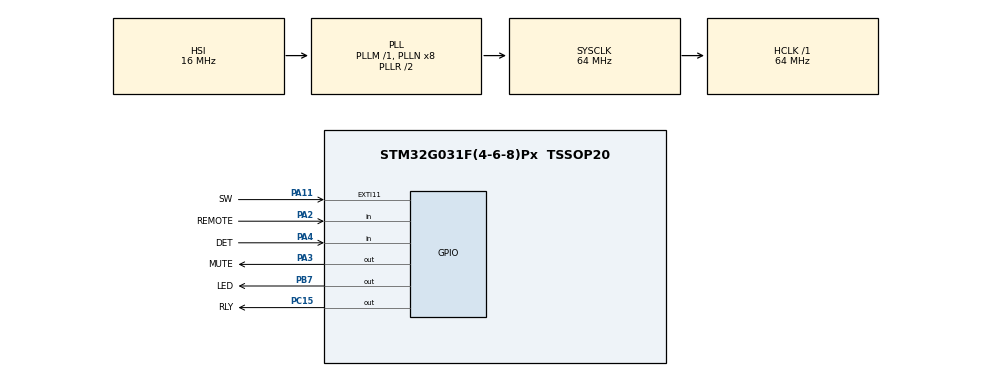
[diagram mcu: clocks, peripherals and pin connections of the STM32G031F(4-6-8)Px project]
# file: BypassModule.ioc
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Mcu.Family=STM32G0
Mcu.Name=STM32G031F(4-6-8)Px
Mcu.Package=TSSOP20
NVIC.EXTI4_15_IRQn=true\:1\:0\:true\:false\:true\:true\:true
NVIC.TIM3_IRQn=true\:2\:0\:true\:false\:true\:true\:true
PA11\ [PA9].GPIO_Label=SW
PA11\ [PA9].GPIO_ModeDefaultEXTI=GPIO_MODE_IT_RISING_FALLING
PA11\ [PA9].GPIO_PuPd=GPIO_PULLUP
PA11\ [PA9].Signal=GPXTI11
PA13.Mode=Serial_Wire
PA13.Signal=SYS_SWDIO
PA14-BOOT0.Mode=Serial_Wire
PA14-BOOT0.Signal=SYS_SWCLK
PA2.GPIO_Label=REMOTE
PA2.GPIO_PuPd=GPIO_PULLUP
PA2.Signal=GPIO_Input
PA3.GPIO_Label=MUTE
PA3.GPIO_ModeDefaultOutputPP=GPIO_MODE_OUTPUT_PP
PA3.GPIO_PuPd=GPIO_NOPULL
PA3.GPIO_Speed=GPIO_SPEED_FREQ_HIGH
PA3.PinState=GPIO_PIN_RESET
PA3.Signal=GPIO_Output
PA4.GPIO_Label=DET
PA4.GPIO_PuPd=GPIO_PULLUP
PA4.Signal=GPIO_Input
PB7.GPIO_Label=LED
PB7.GPIO_ModeDefaultOutputPP=GPIO_MODE_OUTPUT_PP
PB7.GPIO_PuPd=GPIO_NOPULL
PB7.GPIO_Speed=GPIO_SPEED_FREQ_LOW
PB7.PinState=GPIO_PIN_RESET
PB7.Signal=GPIO_Output
PC15-OSC32_OUT\ (PC15).GPIO_Label=RLY
PC15-OSC32_OUT\ (PC15).GPIO_ModeDefaultOutputPP=GPIO_MODE_OUTPUT_PP
PC15-OSC32_OUT\ (PC15).GPIO_PuPd=GPIO_NOPULL
PC15-OSC32_OUT\ (PC15).GPIO_Speed=GPIO_SPEED_FREQ_LOW
PC15-OSC32_OUT\ (PC15).PinState=GPIO_PIN_RESET
PC15-OSC32_OUT\ (PC15).Signal=GPIO_Output
ProjectManager.HeapSize=0x200
ProjectManager.StackSize=0x400
ProjectManager.TargetToolchain=Makefile
RCC.ADCFreq_Value=64000000
RCC.AHBFreq_Value=64000000
RCC.CortexFreq_Value=64000000
RCC.EXTERNAL_CLOCK_VALUE=12288000
RCC.HCLKFreq_Value=64000000
RCC.HSE_VALUE=8000000
RCC.HSI_VALUE=16000000
RCC.LSE_VALUE=32768
RCC.SYSCLKFreq_VALUE=64000000
RCC.SYSCLKSource=RCC_SYSCLKSOURCE_PLLCLK
RCC.VCOOutputFreq_Value=128000000
TIM3.Period=5-1
TIM3.Prescaler=12800-1
VP_TIM3_VS_ClockSourceINT.Mode=Internal
board=custom

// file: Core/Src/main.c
/* USER CODE BEGIN Header */
/**
  ******************************************************************************
  * @file           : main.c
  * @brief          : Main program body
  ******************************************************************************
  * @attention
  *
  * <h2><center>&copy; Copyright (c) 2021 STMicroelectronics.
  * All rights reserved.</center></h2>
  *
  * This software component is licensed by ST under BSD 3-Clause license,
  * the "License"; You may not use this file except in compliance with the
  * License. You may obtain a copy of the License at:
  *                        opensource.org/licenses/BSD-3-Clause
  *
  ******************************************************************************
  */
/* USER CODE END Header */
#include "main.h"
#include "tim.h"
#include "gpio.h"

/* USER CODE BEGIN PD */
#define detime 25
/* USER CODE END PD */

/* USER CODE BEGIN PV */
uint16_t contR=0, contF=0;
uint16_t clock_ms=0;
uint8_t state=0;
uint8_t afterTrigger=0;
/* USER CODE END PV */

void SystemClock_Config(void);

/* USER CODE BEGIN 0 */
void HAL_TIM_PeriodElapsedCallback(TIM_HandleTypeDef *htim){
  if(htim->Instance == TIM3){
    clock_ms++;
  }
}

void togggle(uint8_t dir){
  HAL_GPIO_WritePin(MUTE_GPIO_Port, MUTE_Pin, GPIO_PIN_SET);
  HAL_Delay(1);
  HAL_GPIO_WritePin(LED_GPIO_Port, LED_Pin, dir);
  HAL_GPIO_WritePin(RLY_GPIO_Port, RLY_Pin, dir);
  HAL_Delay(5);
  HAL_GPIO_WritePin(MUTE_GPIO_Port, MUTE_Pin, GPIO_PIN_RESET);
}

void HAL_GPIO_EXTI_Falling_Callback(uint16_t GPIO_Pin)
{
  if(GPIO_Pin == SW_Pin && (HAL_GPIO_ReadPin(SW_GPIO_Port, SW_Pin) == 0)){
    if(contF == 0){
      contF = clock_ms;
    }
  }
}

void HAL_GPIO_EXTI_Rising_Callback(uint16_t GPIO_Pin)
{
  if(GPIO_Pin == SW_Pin && (HAL_GPIO_ReadPin(SW_GPIO_Port, SW_Pin) == 1)){
    if(afterTrigger){
      if(contR == 0){
        contR = clock_ms;
      }
    }
  }
}

/* USER CODE END 0 */

int main(void)
{

  /* MCU Configuration--------------------------------------------------------*/

  /* Reset of all peripherals, Initializes the Flash interface and the Systick. */
  HAL_Init();

  /* Configure the system clock */
  SystemClock_Config();

  /* Initialize all configured peripherals */
  MX_GPIO_Init();
  MX_TIM3_Init();
  /* USER CODE BEGIN 2 */
  HAL_TIM_Base_Start_IT(&htim3);
  /* USER CODE END 2 */

  /* Infinite loop */
  while (1)
  {

    /* USER CODE BEGIN 3 */
    if(HAL_GPIO_ReadPin(DET_GPIO_Port, DET_Pin)==0){
      if((state == 1) && (HAL_GPIO_ReadPin(REMOTE_GPIO_Port, REMOTE_Pin)) == 0){
        togggle(0);
        state = 0;
      }
      else if((state == 0) && (HAL_GPIO_ReadPin(REMOTE_GPIO_Port, REMOTE_Pin))){
        togggle(1);
        state = 1;
      }
      HAL_Delay(20);
    }
    else{
      if(afterTrigger){
        if(HAL_GPIO_ReadPin(SW_GPIO_Port, SW_Pin)){
          if(state && (clock_ms - contF) > 1000 && (clock_ms - contR) > detime){
            togggle(0);
            state = 0;

            contF = 0;
            contR = 0;

            afterTrigger = 0;
          }
          else if((clock_ms - contF) > 200 && (clock_ms - contR) > detime){
            contF = 0;
            contR = 0;

            afterTrigger = 0;
          }
        }
      }
      else{
        if((clock_ms - contF) > detime && (HAL_GPIO_ReadPin(SW_GPIO_Port, SW_Pin) == 0)){
          if(state){
            state = 0;

          }
          else{
            state = 1;
          }
          togggle(state);
          afterTrigger = 1;
        }
      }
    }
  }
  /* USER CODE END 3 */
}

void SystemClock_Config(void)
{
  RCC_OscInitTypeDef RCC_OscInitStruct = {0};
  RCC_ClkInitTypeDef RCC_ClkInitStruct = {0};

  /** Configure the main internal regulator output voltage
  */
  HAL_PWREx_ControlVoltageScaling(PWR_REGULATOR_VOLTAGE_SCALE1);
  /** Initializes the RCC Oscillators according to the specified parameters
  * in the RCC_OscInitTypeDef structure.
  */
  RCC_OscInitStruct.OscillatorType = RCC_OSCILLATORTYPE_HSI;
  RCC_OscInitStruct.HSIState = RCC_HSI_ON;
  RCC_OscInitStruct.HSIDiv = RCC_HSI_DIV1;
  RCC_OscInitStruct.HSICalibrationValue = RCC_HSICALIBRATION_DEFAULT;
  RCC_OscInitStruct.PLL.PLLState = RCC_PLL_ON;
  RCC_OscInitStruct.PLL.PLLSource = RCC_PLLSOURCE_HSI;
  RCC_OscInitStruct.PLL.PLLM = RCC_PLLM_DIV1;
  RCC_OscInitStruct.PLL.PLLN = 8;
  RCC_OscInitStruct.PLL.PLLP = RCC_PLLP_DIV2;
  RCC_OscInitStruct.PLL.PLLQ = RCC_PLLQ_DIV2;
  RCC_OscInitStruct.PLL.PLLR = RCC_PLLR_DIV2;
  if (HAL_RCC_OscConfig(&RCC_OscInitStruct) != HAL_OK)
  {
    Error_Handler();
  }
  /** Initializes the CPU, AHB and APB buses clocks
  */
  RCC_ClkInitStruct.ClockType = RCC_CLOCKTYPE_HCLK|RCC_CLOCKTYPE_SYSCLK
                              |RCC_CLOCKTYPE_PCLK1;
  RCC_ClkInitStruct.SYSCLKSource = RCC_SYSCLKSOURCE_PLLCLK;
  RCC_ClkInitStruct.AHBCLKDivider = RCC_SYSCLK_DIV1;
  RCC_ClkInitStruct.APB1CLKDivider = RCC_HCLK_DIV1;

  if (HAL_RCC_ClockConfig(&RCC_ClkInitStruct, FLASH_LATENCY_2) != HAL_OK)
  {
    Error_Handler();
  }
}

void Error_Handler(void)
{
  __disable_irq();
  while (1)
  {
  }
}

/************************ (C) COPYRIGHT STMicroelectronics *****END OF FILE****/
